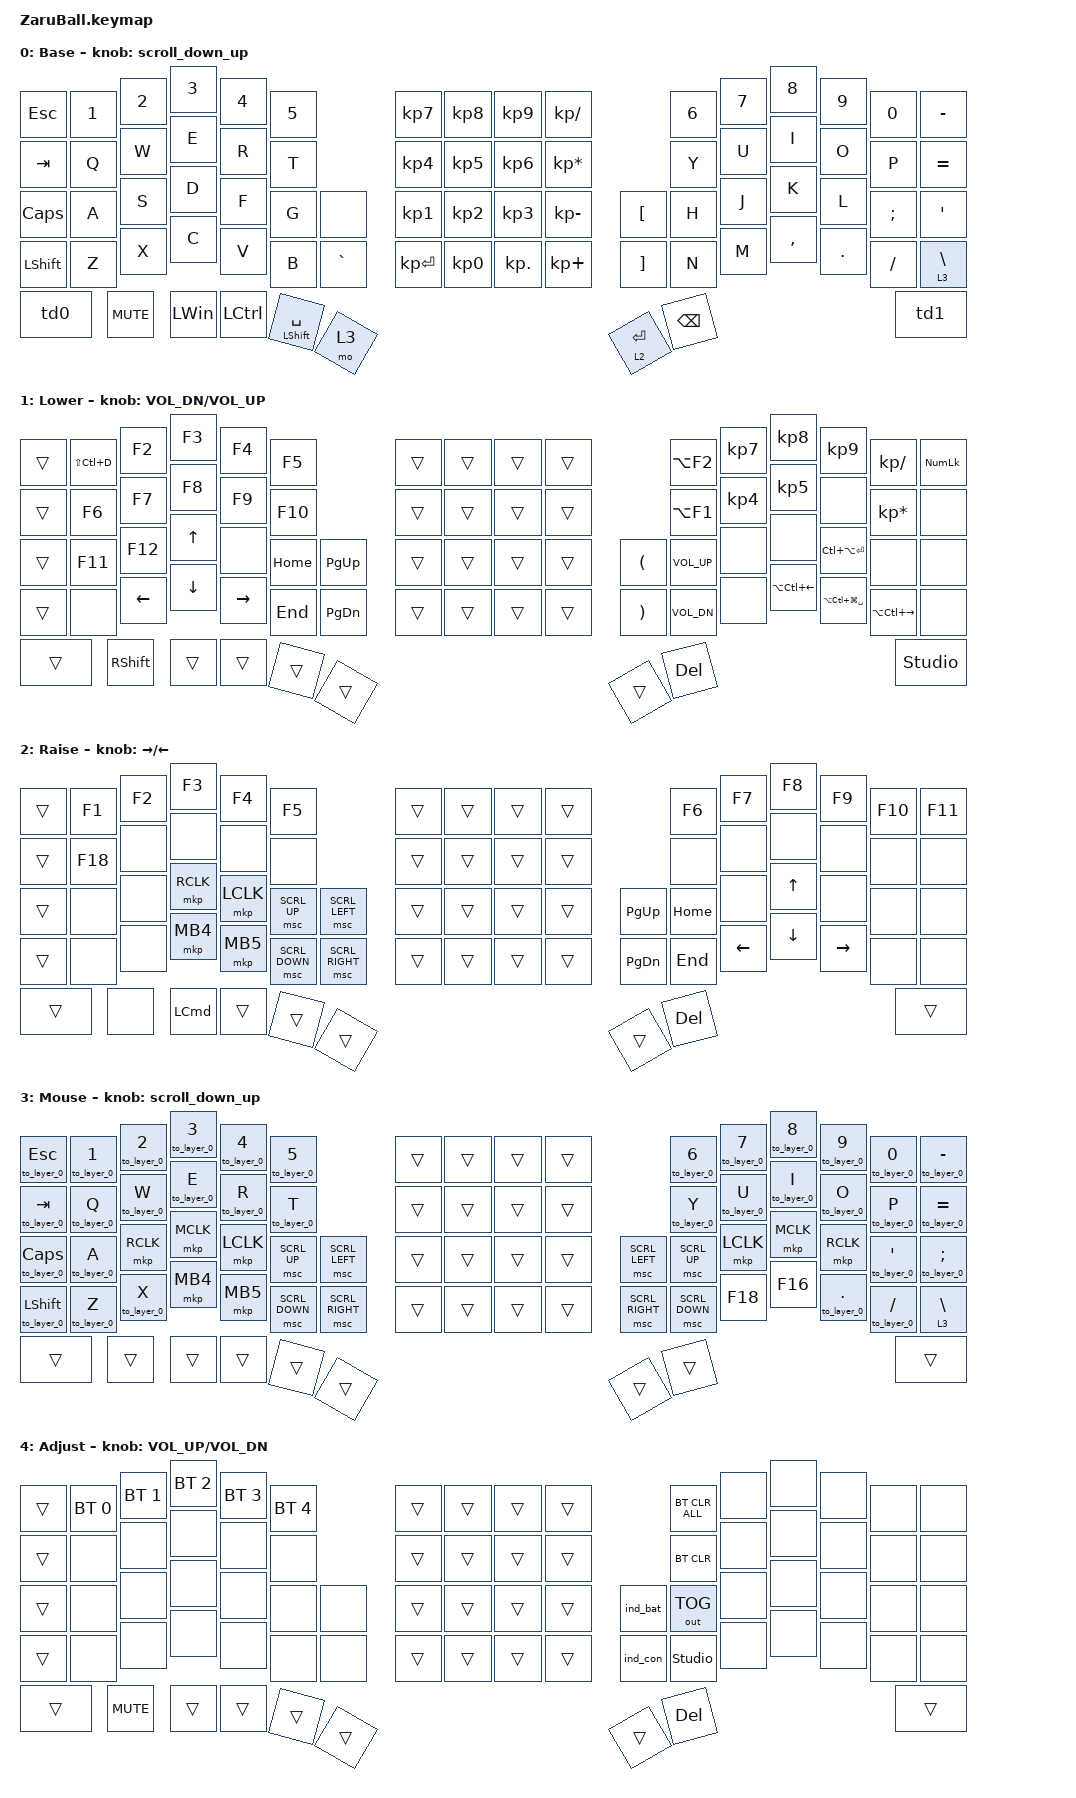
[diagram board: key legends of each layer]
//#include <dt-bindings/zmk/mouse.h>

#include <behaviors/rgbled_widget.dtsi>
#include <input/processors.dtsi>
#include <dt-bindings/zmk/input_transform.h>
#include <behaviors.dtsi>
#include <dt-bindings/zmk/bt.h>
#include <dt-bindings/zmk/keys.h>
#include <dt-bindings/zmk/outputs.h>
#include <dt-bindings/zmk/pointing.h>

#define BASE     0
#define MOUSE    1
#define LOWER    2
#define RAISE    3
#define ADJUST   4
#define SCROLL   2

// スクロール量の設定

#define ZMK_POINTING_DEFAULT_SCRL_VAL 100

&trackball_listener {
    input-processors = <
                         &zip_xy_transform (INPUT_TRANSFORM_XY_SWAP | INPUT_TRANSFORM_Y_INVERT | INPUT_TRANSFORM_X_INVERT)
                         // &zip_temp_layer MOUSE 500 // ←これを無効化
    >;

    scroller {
        layers = <SCROLL>;
        input-processors = <
                            &zip_xy_transform (INPUT_TRANSFORM_XY_SWAP | INPUT_TRANSFORM_X_INVERT)
                            &zip_xy_scaler 1 20
                            &zip_xy_to_scroll_mapper
        >;
    };
};

/ {
    conditional_layers {
        compatible = "zmk,conditional-layers";

        tri_layer {
            if-layers = <3 2>;
            then-layer = <4>;
        };
    };
};

/ {
    behaviors {
        // スクロール用のbehaviorの設定

        scroll_down_up: behavior_sensor_rotate_mouse_wheel_down_up {
            compatible = "zmk,behavior-sensor-rotate";
            #sensor-binding-cells = <0>;
            bindings = <&msc SCRL_UP>, <&msc SCRL_DOWN>;

            tap-ms = <20>; // スクロールのタップ時間
        };

        td0: tap_dance_0 {
            compatible = "zmk,behavior-tap-dance";
            #binding-cells = <0>;
            tapping-term-ms = <200>;
            bindings = <&mt LEFT_COMMAND LANG2>, <&mo 2>, <&mo 2>;
        };

        td1: tap_dance_1 {
            compatible = "zmk,behavior-tap-dance";
            #binding-cells = <0>;
            tapping-term-ms = <200>;
            bindings = <&lt 1 LANG1>, <&mo 2>, <&mo 2>;
        };

        // Customed Hold-Tap for SandS

        SandS: SandS {
            compatible = "zmk,behavior-hold-tap";
            #binding-cells = <2>;
            flavor = "tap-unless-interrupted";
            tapping-term-ms = <500>;
            quick-tap-ms = <500>;
            bindings = <&kp>, <&kp>;

            display-name = "SandS";
        };
    };
};

&sl { release-after-ms = <250>; }; // time needed for double click (for mkp_exit_AML)
/ {
    macros {
        // When in AML, move to default layer when key (except mouse button) pressed

        to_layer_0: to_layer_0 {
            compatible = "zmk,behavior-macro-one-param";
            #binding-cells = <1>;
            bindings = <&tog 2 &macro_param_1to1 &kp MACRO_PLACEHOLDER>;
            label = "TO_layer_0";
        };

        // When LCLK pressed, exit AML (after 250ms cause by sticky layer

        mkp_exit_AML: mkp_exit_AML {
            compatible = "zmk,behavior-macro-one-param";
            #binding-cells = <1>;
            bindings =
                <&macro_press>,
                <&macro_param_1to1 &mkp MACRO_PLACEHOLDER>,
                <&macro_pause_for_release>,
                <&macro_release>,
                <&macro_param_1to1 &mkp MACRO_PLACEHOLDER>,
                <&macro_tap>,
                <&sl 2>;

            label = "MKP_EXIT_AML";
        };
    };
};

/ {
    keymap {
        compatible = "zmk,keymap";

        base_layer {
            display-name = "Base";
            sensor-bindings = <&scroll_down_up>;
            bindings = <
&kp ESC    &kp N1      &kp N2  &kp N3    &kp N4     &kp N5                           &kp KP_N7     &kp KP_N8  &kp KP_N9   &kp KP_DIVIDE                   &kp NUMBER_6   &kp N7  &kp N8     &kp N9   &kp N0    &kp MINUS
&kp TAB    &kp Q       &kp W   &kp E     &kp R      &kp T                            &kp KP_N4     &kp KP_N5  &kp KP_N6   &kp KP_MULTIPLY                 &kp Y          &kp U   &kp I      &kp O    &kp P     &kp EQUAL
&kp CAPS   &kp A       &kp S   &kp D     &kp F      &kp G               &none        &kp KP_N1     &kp KP_N2  &kp KP_N3   &kp KP_MINUS       &kp LBKT     &kp H          &kp J   &kp K      &kp L    &kp SEMI  &kp SQT
&kp LSHFT  &kp Z       &kp X   &kp C     &kp V      &kp B               &kp GRAVE    &kp KP_ENTER  &kp KP_N0  &kp KP_DOT  &kp KP_PLUS        &kp RBKT     &kp N          &kp M   &kp COMMA  &kp DOT  &kp FSLH  &lt 3 BACKSLASH
&td0       &kp C_MUTE          &kp LWIN  &kp LCTRL  &SandS LSHFT SPACE  &mo 3                                                                &lt 2 ENTER  &kp BACKSPACE                                        &td1
            >;
        };

        lower_layer {
            display-name = "Lower";
            sensor-bindings = <&inc_dec_kp C_VOL_DN C_VOL_UP>;
            bindings = <
&trans  &kp LS(LC(D))  &kp F2    &kp F3    &kp F4     &kp F5                 &trans  &trans  &trans  &trans              &kp LA(F2)    &kp KP_N7  &kp KP_N8         &kp KP_N9              &kp KP_SLASH       &kp KP_NUMLOCK
&trans  &kp F6         &kp F7    &kp F8    &kp F9     &kp F10                &trans  &trans  &trans  &trans              &kp LA(F1)    &kp KP_N4  &kp KP_N5         &none                  &kp KP_MULTIPLY    &none
&trans  &kp F11        &kp F12   &kp UP    &none      &kp HOME  &kp PG_UP    &trans  &trans  &trans  &trans    &kp LPAR  &kp C_VOL_UP  &none      &none             &kp LC(LA(ENTER))      &none              &none
&trans  &none          &kp LEFT  &kp DOWN  &kp RIGHT  &kp END   &kp PG_DN    &trans  &trans  &trans  &trans    &kp RPAR  &kp C_VOL_DN  &none      &kp LA(LC(LEFT))  &kp LA(LC(LG(SPACE)))  &kp LA(LC(RIGHT))  &none
&trans  &kp RSHFT                &trans    &trans     &trans    &trans                                         &trans    &kp DEL                                                                              &studio_unlock
            >;
        };

        raise_layer {
            display-name = "Raise";
            sensor-bindings = <&inc_dec_kp RIGHT LEFT>;
            bindings = <
&trans  &kp F1   &kp F2  &kp F3            &kp F4     &kp F5                             &trans  &trans  &trans  &trans               &kp F6    &kp F7    &kp F8    &kp F9     &kp F10  &kp F11
&trans  &kp F18  &none   &none             &none      &none                              &trans  &trans  &trans  &trans               &none     &none     &none     &none      &none    &none
&trans  &none    &none   &mkp RCLK         &mkp LCLK  &msc SCRL_UP    &msc SCRL_LEFT     &trans  &trans  &trans  &trans    &kp PG_UP  &kp HOME  &none     &kp UP    &none      &none    &none
&trans  &none    &none   &mkp MB4          &mkp MB5   &msc SCRL_DOWN  &msc SCRL_RIGHT    &trans  &trans  &trans  &trans    &kp PG_DN  &kp END   &kp LEFT  &kp DOWN  &kp RIGHT  &none    &none
&trans  &none            &kp LEFT_COMMAND  &trans     &trans          &trans                                               &trans     &kp DEL                                           &trans
            >;
        };

        mouse_layer {
            display-name = "Mouse";
            sensor-bindings = <&scroll_down_up>;
            bindings = <
&to_layer_0 ESC     &to_layer_0 N1  &to_layer_0 N2  &to_layer_0 N3  &to_layer_0 N4  &to_layer_0 N5                     &trans  &trans  &trans  &trans                     &to_layer_0 N6  &to_layer_0 N7  &to_layer_0 N8  &to_layer_0 N9      &to_layer_0 N0            &to_layer_0 MINUS
&to_layer_0 TAB     &to_layer_0 Q   &to_layer_0 W   &to_layer_0 E   &to_layer_0 R   &to_layer_0 T                      &trans  &trans  &trans  &trans                     &to_layer_0 Y   &to_layer_0 U   &to_layer_0 I   &to_layer_0 O       &to_layer_0 P             &to_layer_0 EQUAL
&to_layer_0 CAPS    &to_layer_0 A   &mkp RCLK       &mkp MCLK       &mkp LCLK       &msc SCRL_UP    &msc SCRL_LEFT     &trans  &trans  &trans  &trans    &msc SCRL_LEFT   &msc SCRL_UP    &mkp LCLK       &mkp MCLK       &mkp RCLK           &to_layer_0 SINGLE_QUOTE  &to_layer_0 SEMICOLON
&to_layer_0 LSHIFT  &to_layer_0 Z   &to_layer_0 X   &mkp MB4        &mkp MB5        &msc SCRL_DOWN  &msc SCRL_RIGHT    &trans  &trans  &trans  &trans    &msc SCRL_RIGHT  &msc SCRL_DOWN  &kp F18         &kp F16         &to_layer_0 PERIOD  &to_layer_0 SLASH         &lt 3 BACKSLASH
&trans              &trans                          &trans          &trans          &trans          &trans                                               &trans           &trans                                                                                        &trans
            >;
        };

        adjust_layer {
            display-name = "Adjust";
            sensor-bindings = <&inc_dec_kp C_VOL_UP C_VOL_DN>;
            bindings = <
&trans  &bt BT_SEL 0  &bt BT_SEL 1  &bt BT_SEL 2  &bt BT_SEL 3  &bt BT_SEL 4            &trans  &trans  &trans  &trans              &bt BT_CLR_ALL  &none  &none  &none  &none  &none
&trans  &none         &none         &none         &none         &none                   &trans  &trans  &trans  &trans              &bt BT_CLR      &none  &none  &none  &none  &none
&trans  &none         &none         &none         &none         &none         &none     &trans  &trans  &trans  &trans    &ind_bat  &out OUT_TOG    &none  &none  &none  &none  &none
&trans  &none         &none         &none         &none         &none         &none     &trans  &trans  &trans  &trans    &ind_con  &studio_unlock  &none  &none  &none  &none  &none
&trans  &kp C_MUTE                  &trans        &trans        &trans        &trans                                      &trans    &kp DEL                                     &trans
            >;
        };

        extra1 { status = "reserved"; };

        extra2 { status = "reserved"; };
    };
};
